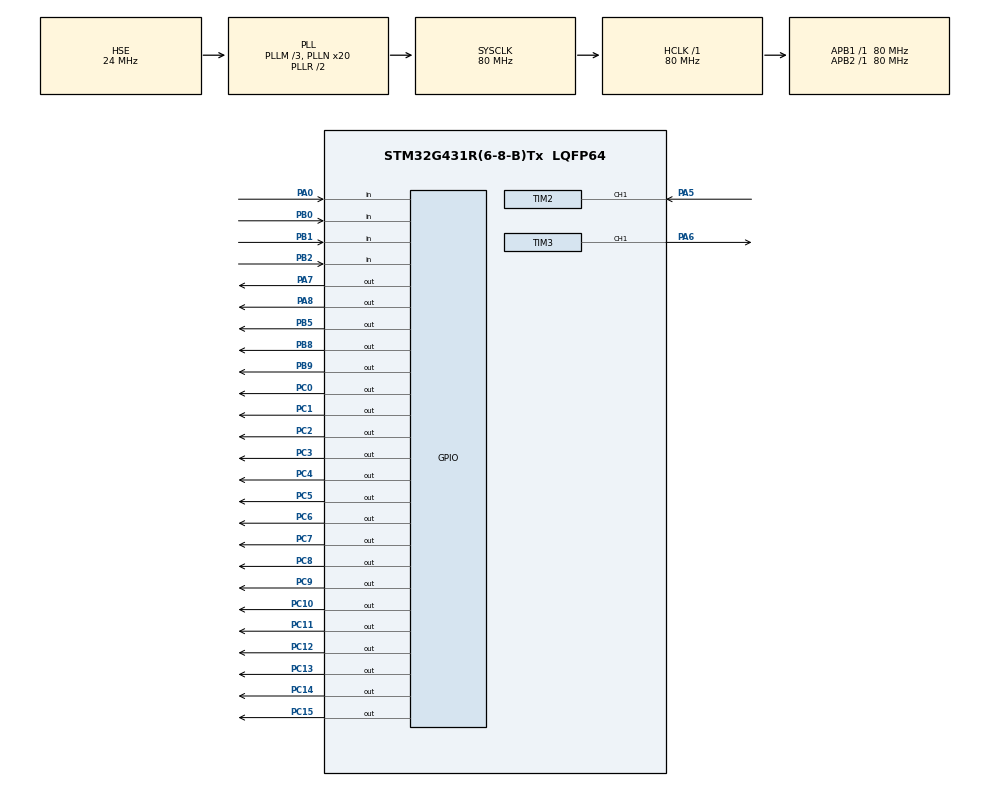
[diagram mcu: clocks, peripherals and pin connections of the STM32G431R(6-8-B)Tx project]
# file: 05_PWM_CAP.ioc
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Mcu.Family=STM32G4
Mcu.Name=STM32G431R(6-8-B)Tx
Mcu.Package=LQFP64
NVIC.PriorityGroup=NVIC_PRIORITYGROUP_4
NVIC.TIM2_IRQn=true\:2\:0\:true\:false\:true\:true\:true\:true
NVIC.TIM4_IRQn=true\:1\:0\:true\:false\:true\:true\:true\:true
PA0.GPIO_PuPd=GPIO_PULLUP
PA0.Signal=GPIO_Input
PA13.Mode=Serial_Wire
PA13.Signal=SYS_JTMS-SWDIO
PA14.Mode=Serial_Wire
PA14.Signal=SYS_JTCK-SWCLK
PA5.Signal=S_TIM2_CH1
PA6.Signal=S_TIM3_CH1
PA7.GPIO_PuPd=GPIO_PULLDOWN
PA7.Signal=GPIO_Output
PA8.Signal=GPIO_Output
PB0.GPIO_PuPd=GPIO_PULLUP
PB0.Signal=GPIO_Input
PB1.GPIO_PuPd=GPIO_PULLUP
PB1.Signal=GPIO_Input
PB2.GPIO_PuPd=GPIO_PULLUP
PB2.Signal=GPIO_Input
PB5.Signal=GPIO_Output
PB8-BOOT0.Signal=GPIO_Output
PB9.Signal=GPIO_Output
PC0.Signal=GPIO_Output
PC1.Signal=GPIO_Output
PC10.Signal=GPIO_Output
PC11.Signal=GPIO_Output
PC12.Signal=GPIO_Output
PC13.Signal=GPIO_Output
PC14-OSC32_IN.Signal=GPIO_Output
PC15-OSC32_OUT.Signal=GPIO_Output
PC2.Signal=GPIO_Output
PC3.Signal=GPIO_Output
PC4.Signal=GPIO_Output
PC5.Signal=GPIO_Output
PC6.Signal=GPIO_Output
PC7.Signal=GPIO_Output
PC8.Signal=GPIO_Output
PC9.Signal=GPIO_Output
PF0-OSC_IN.Mode=HSE-External-Oscillator
PF0-OSC_IN.Signal=RCC_OSC_IN
PF1-OSC_OUT.Mode=HSE-External-Oscillator
PF1-OSC_OUT.Signal=RCC_OSC_OUT
ProjectManager.HeapSize=0x200
ProjectManager.StackSize=0x400
ProjectManager.TargetToolchain=MDK-ARM V5.32
RCC.ADC12Freq_Value=80000000
RCC.AHBFreq_Value=80000000
RCC.APB1Freq_Value=80000000
RCC.APB1TimFreq_Value=80000000
RCC.APB2Freq_Value=80000000
RCC.APB2TimFreq_Value=80000000
RCC.CortexFreq_Value=80000000
RCC.EXTERNAL_CLOCK_VALUE=12288000
RCC.HCLKFreq_Value=80000000
RCC.HSE_VALUE=24000000
RCC.HSI48_VALUE=48000000
RCC.HSI_VALUE=16000000
RCC.LSE_VALUE=32768
RCC.PLLM=RCC_PLLM_DIV3
RCC.PLLN=20
RCC.PLLSourceVirtual=RCC_PLLSOURCE_HSE
RCC.SYSCLKFreq_VALUE=80000000
RCC.SYSCLKSource=RCC_SYSCLKSOURCE_PLLCLK
RCC.USBFreq_Value=80000000
RCC.VCOOutputFreq_Value=160000000
SH.S_TIM2_CH1.0=TIM2_CH1,Input_Capture1_from_TI1
SH.S_TIM2_CH1.1=TIM2_CH1,TriggerSource_TI1FP1
SH.S_TIM3_CH1.0=TIM3_CH1,PWM Generation1 CH1
TIM2.Channel-Input_Capture1_from_TI1=TIM_CHANNEL_1
TIM2.Channel-Input_Capture2_from_TI1_63=TIM_CHANNEL_2
TIM2.ICPolarity_CH2=TIM_INPUTCHANNELPOLARITY_FALLING
TIM2.PeriodNoDither=4294967295
TIM2.Prescaler=0
TIM2.TIM_MasterSlaveMode=TIM_MASTERSLAVEMODE_ENABLE
TIM3.Channel-PWM\ Generation1\ CH1=TIM_CHANNEL_1
TIM3.PeriodNoDither=100-1
TIM3.Prescaler=799
TIM3.PulseNoDither_1=10
TIM4.PeriodNoDither=10000-1
TIM4.Prescaler=79
VP_SYS_VS_DBSignals.Mode=DisableDeadBatterySignals
VP_TIM2_VS_ClockSourceINT.Mode=Internal
VP_TIM2_VS_ControllerModeReset.Mode=Reset Mode
VP_TIM2_VS_indirect_ch1.Mode=Input_Capture2_from_TI1_63
VP_TIM3_VS_ClockSourceINT.Mode=Internal
VP_TIM4_VS_ClockSourceINT.Mode=Internal
board=custom

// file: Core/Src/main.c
/* USER CODE BEGIN Header */
/**
  ******************************************************************************
  * @file           : main.c
  * @brief          : Main program body
  ******************************************************************************
  * @attention
  *
  * Copyright (c) 2025 STMicroelectronics.
  * All rights reserved.
  *
  * This software is licensed under terms that can be found in the LICENSE file
  * in the root directory of this software component.
  * If no LICENSE file comes with this software, it is provided AS-IS.
  *
  ******************************************************************************
  */
/* USER CODE END Header */
#include "main.h"
#include "tim.h"
#include "gpio.h"

/* USER CODE BEGIN Includes */
#include "LCD.h"
#include "KEY.h"
#include "interrupt.h"
#include "stdio.h"
#include "measure.h"
/* USER CODE END Includes */

/* USER CODE BEGIN PD */
char text[20];
/* USER CODE END PD */

void SystemClock_Config(void);

int main(void)
{

  /* MCU Configuration--------------------------------------------------------*/

  /* Reset of all peripherals, Initializes the Flash interface and the Systick. */
  HAL_Init();

  /* Configure the system clock */
  SystemClock_Config();

  /* Initialize all configured peripherals */
  MX_GPIO_Init();
  MX_TIM3_Init();
  MX_TIM4_Init();
  MX_TIM2_Init();
  /* USER CODE BEGIN 2 */
	LCD_Init();
	LCD_Clear(Black);
	LCD_SetBackColor(Black);
	LCD_SetTextColor(White);
	sprintf(text,"Duty:");
	LCD_DisplayStringLine(Line1,(uint8_t*)text);
	sprintf(text,"fre:");
	LCD_DisplayStringLine(Line2,(uint8_t*)text);
	HAL_TIM_PWM_Start(&htim3,TIM_CHANNEL_1);
	HAL_TIM_Base_Start_IT(&htim4);
  HAL_TIM_IC_Start_IT(&htim2,TIM_CHANNEL_1);
	HAL_TIM_IC_Start_IT(&htim2,TIM_CHANNEL_2);

  /* USER CODE END 2 */

  /* Infinite loop */
  while (1)
  {

  }
}

void SystemClock_Config(void)
{
  RCC_OscInitTypeDef RCC_OscInitStruct = {0};
  RCC_ClkInitTypeDef RCC_ClkInitStruct = {0};

  /** Configure the main internal regulator output voltage
  */
  HAL_PWREx_ControlVoltageScaling(PWR_REGULATOR_VOLTAGE_SCALE1);

  /** Initializes the RCC Oscillators according to the specified parameters
  * in the RCC_OscInitTypeDef structure.
  */
  RCC_OscInitStruct.OscillatorType = RCC_OSCILLATORTYPE_HSE;
  RCC_OscInitStruct.HSEState = RCC_HSE_ON;
  RCC_OscInitStruct.PLL.PLLState = RCC_PLL_ON;
  RCC_OscInitStruct.PLL.PLLSource = RCC_PLLSOURCE_HSE;
  RCC_OscInitStruct.PLL.PLLM = RCC_PLLM_DIV3;
  RCC_OscInitStruct.PLL.PLLN = 20;
  RCC_OscInitStruct.PLL.PLLP = RCC_PLLP_DIV2;
  RCC_OscInitStruct.PLL.PLLQ = RCC_PLLQ_DIV2;
  RCC_OscInitStruct.PLL.PLLR = RCC_PLLR_DIV2;
  if (HAL_RCC_OscConfig(&RCC_OscInitStruct) != HAL_OK)
  {
    Error_Handler();
  }

  /** Initializes the CPU, AHB and APB buses clocks
  */
  RCC_ClkInitStruct.ClockType = RCC_CLOCKTYPE_HCLK|RCC_CLOCKTYPE_SYSCLK
                              |RCC_CLOCKTYPE_PCLK1|RCC_CLOCKTYPE_PCLK2;
  RCC_ClkInitStruct.SYSCLKSource = RCC_SYSCLKSOURCE_PLLCLK;
  RCC_ClkInitStruct.AHBCLKDivider = RCC_SYSCLK_DIV1;
  RCC_ClkInitStruct.APB1CLKDivider = RCC_HCLK_DIV1;
  RCC_ClkInitStruct.APB2CLKDivider = RCC_HCLK_DIV1;

  if (HAL_RCC_ClockConfig(&RCC_ClkInitStruct, FLASH_LATENCY_2) != HAL_OK)
  {
    Error_Handler();
  }
}

void Error_Handler(void)
{
  __disable_irq();
  while (1)
  {
  }
}
